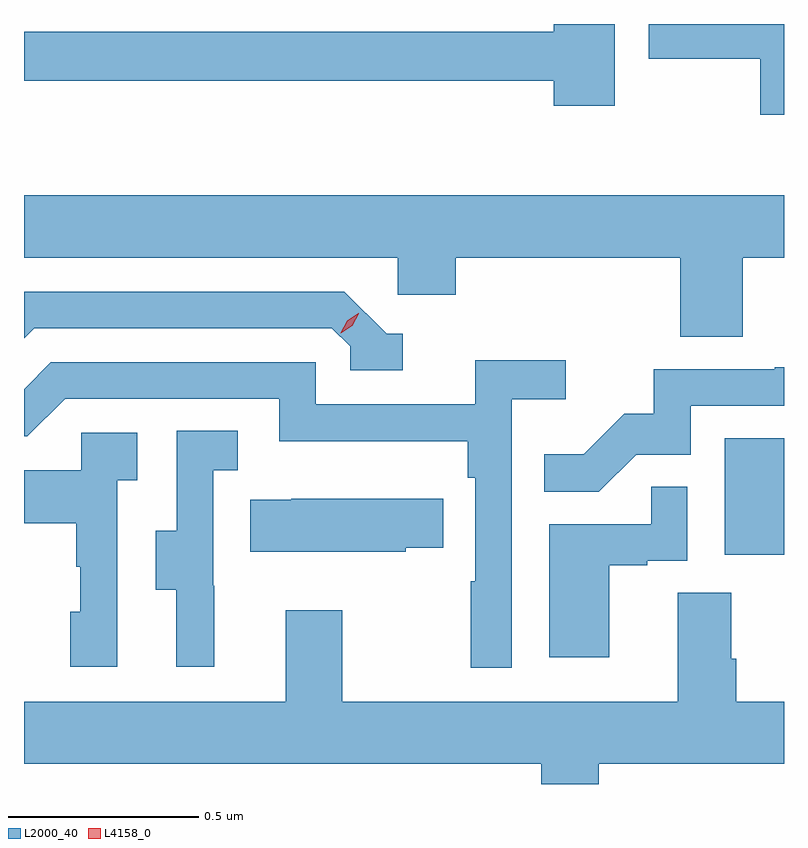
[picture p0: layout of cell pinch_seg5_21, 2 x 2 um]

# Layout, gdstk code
import gdstk
lib = gdstk.Library(unit=1e-6, precision=1e-09)
def R(c, l, rs):  # rectangles x0, y0, x1, y1
    for r in rs: c.add(gdstk.rectangle(r[:2], r[2:], *l))
def P(c, l, *ps):  # polygons
    for p in ps: c.add(gdstk.Polygon(p, *l))
L2000_40 = (2000, 40)
L4158_0 = (4158, 0)

pinch_seg5_21 = lib.new_cell('pinch_seg5_21')
R(pinch_seg5_21, L2000_40, [(1118.408,913.254,1118.564,913.561)])
P(pinch_seg5_21, L2000_40, [(1118.564,914.651),(1118.208,914.651),(1118.208,914.559),(1118.502,914.559),(1118.502,914.412),(1118.564,914.412)],
  [(1118.119,914.651),(1117.958,914.651),(1117.958,914.63),(1116.564,914.63),(1116.564,914.502),(1117.958,914.502),(1117.958,914.436),(1118.119,914.436)],
  [(1118.456,914.036),(1118.564,914.036),(1118.564,914.2),(1116.564,914.2),(1116.564,914.036),(1117.548,914.036),(1117.548,913.938),(1117.7,913.938),(1117.7,914.036),(1118.291,914.036),(1118.291,913.828),(1118.456,913.828)],
  [(1117.561,913.836),(1117.518,913.836),(1117.407,913.947),(1116.564,913.947),(1116.564,913.824),(1116.591,913.851),(1117.374,913.851),(1117.422,913.803),(1117.422,913.74),(1117.561,913.74)],
  [(1117.848,913.664),(1117.99,913.664),(1117.99,913.766),(1117.751,913.766),(1117.751,913.65),(1117.332,913.65),(1117.332,913.761),(1116.635,913.761),(1116.564,913.69),(1116.564,913.566),(1116.573,913.566),(1116.672,913.665),(1117.236,913.665),(1117.236,913.553),(1117.732,913.553),(1117.732,913.457),(1117.752,913.457),(1117.752,913.184),(1117.74,913.184),(1117.74,912.957),(1117.848,912.957)],
  [(1118.175,913.518),(1118.319,913.518),(1118.319,913.647),(1118.564,913.647),(1118.564,913.748),(1118.539,913.748),(1118.539,913.743),(1118.221,913.743),(1118.221,913.626),(1118.144,913.626),(1118.037,913.519),(1117.933,913.519),(1117.933,913.42),(1118.077,913.42)],
  [(1117.064,913.173),(1117.062,913.173),(1117.062,913.477),(1117.126,913.477),(1117.126,913.58),(1116.966,913.58),(1116.966,913.317),(1116.911,913.317),(1116.911,913.162),(1116.965,913.162),(1116.965,912.96),(1117.064,912.96)],
  [(1116.81,913.451),(1116.862,913.451),(1116.862,913.575),(1116.714,913.575),(1116.714,913.477),(1116.564,913.477),(1116.564,913.337),(1116.702,913.337),(1116.702,913.223),(1116.712,913.223),(1116.712,913.104),(1116.686,913.104),(1116.686,912.96),(1116.81,912.96)],
  [(1118.104,913.227),(1118.204,913.227),(1118.204,913.239),(1118.31,913.239),(1118.31,913.433),(1118.215,913.433),(1118.215,913.335),(1117.946,913.335),(1117.946,912.984),(1118.104,912.984)],
  [(1117.569,913.273),(1117.667,913.273),(1117.667,913.402),(1117.267,913.402),(1117.267,913.399),(1117.159,913.399),(1117.159,913.262),(1117.569,913.262)],
  [(1118.077,912.704),(1118.564,912.704),(1118.564,912.868),(1118.438,912.868),(1118.438,912.98),(1118.425,912.98),(1118.425,913.154),(1118.285,913.154),(1118.285,912.868),(1117.401,912.868),(1117.401,913.108),(1117.253,913.108),(1117.253,912.868),(1116.564,912.868),(1116.564,912.704),(1117.925,912.704),(1117.925,912.651),(1118.077,912.651)])
P(pinch_seg5_21, L4158_0, [(1117.397,913.837),(1117.397,913.838),(1117.414,913.87),(1117.444,913.89),(1117.445,913.89),(1117.445,913.889),(1117.428,913.857),(1117.398,913.837)])

lib.write_gds('pinch_seg5_21.gds')
